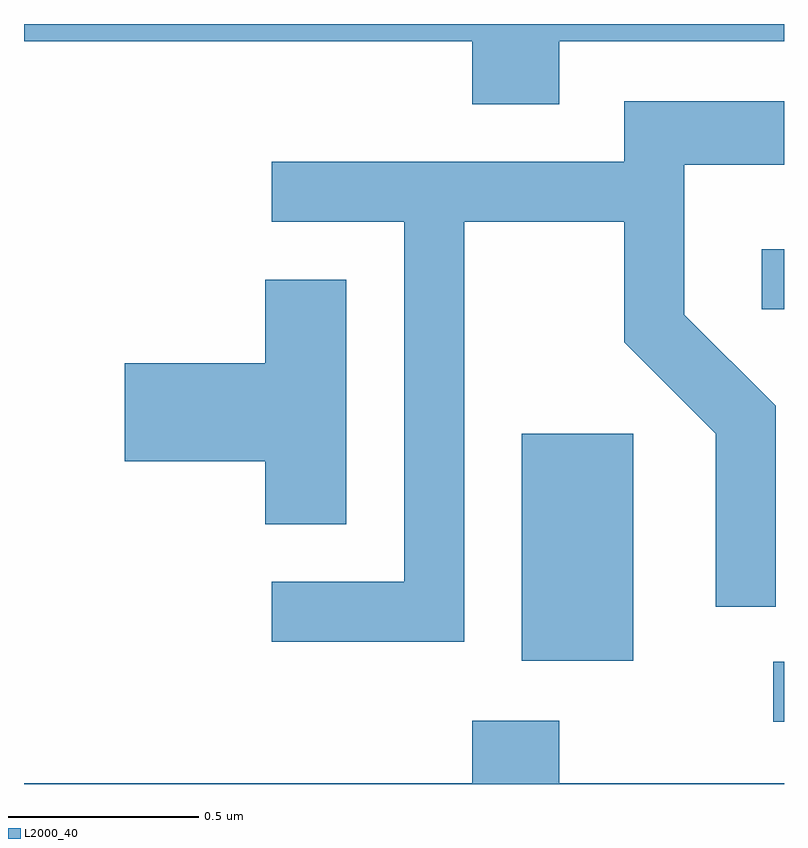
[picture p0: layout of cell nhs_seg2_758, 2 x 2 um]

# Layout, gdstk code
import gdstk
lib = gdstk.Library(unit=1e-6, precision=1e-09)
def R(c, l, rs):  # rectangles x0, y0, x1, y1
    for r in rs: c.add(gdstk.rectangle(r[:2], r[2:], *l))
def P(c, l, *ps):  # polygons
    for p in ps: c.add(gdstk.Polygon(p, *l))
L2000_40 = (2000, 40)

nhs_seg2_758 = lib.new_cell('nhs_seg2_758')
R(nhs_seg2_758, L2000_40, [(192.583,1050.966,192.611,1051.124), (191.921,1051.126,192.214,1051.724), (192.553,1052.051,192.611,1052.209)])
P(nhs_seg2_758, L2000_40, [(192.019,1052.756),(192.611,1052.756),(192.611,1052.802),(190.611,1052.802),(190.611,1052.756),(191.791,1052.756),(191.791,1052.591),(192.019,1052.591)],
  [(191.769,1052.281),(192.191,1052.281),(192.191,1051.964),(192.431,1051.724),(192.431,1051.268),(192.589,1051.268),(192.589,1051.797),(192.349,1052.037),(192.349,1052.431),(192.611,1052.431),(192.611,1052.599),(192.191,1052.599),(192.191,1052.439),(191.263,1052.439),(191.263,1052.281),(191.611,1052.281),(191.611,1051.334),(191.263,1051.334),(191.263,1051.176),(191.769,1051.176)],
  [(191.459,1052.129),(191.246,1052.129),(191.246,1051.909),(190.876,1051.909),(190.876,1051.651),(191.246,1051.651),(191.246,1051.486),(191.459,1051.486)],
  [(192.611,1050.804),(192.019,1050.804),(192.019,1050.969),(191.791,1050.969),(191.791,1050.804),(190.611,1050.804),(190.611,1050.802),(192.611,1050.802)])

lib.write_gds('nhs_seg2_758.gds')
